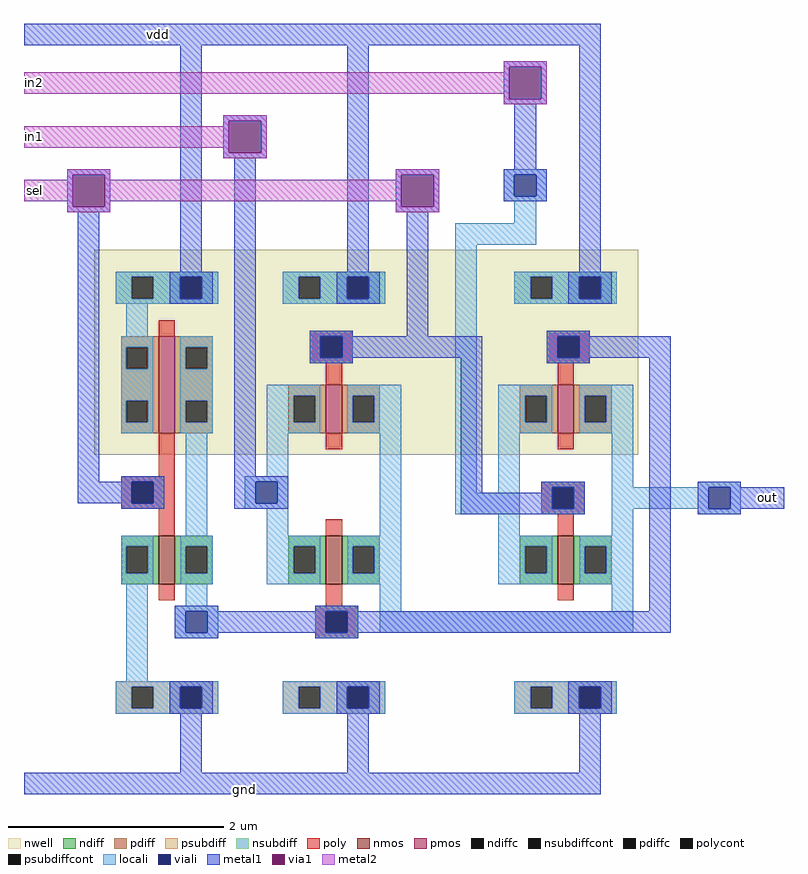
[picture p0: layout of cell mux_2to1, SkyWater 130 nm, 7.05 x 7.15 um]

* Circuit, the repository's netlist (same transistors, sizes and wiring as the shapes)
* SPICE3 file created from mux_2to1.ext - technology: sky130A

X0 out a_2510_640# in1 gnd sky130_fd_pr__nfet_01v8 ad=0.1575 pd=1.6 as=0.1575 ps=1.6 w=0.45 l=0.15
X1 out sel in2 gnd sky130_fd_pr__nfet_01v8 ad=0.1575 pd=1.6 as=0.1575 ps=1.6 w=0.45 l=0.15
X2 a_2510_640# sel gnd gnd sky130_fd_pr__nfet_01v8 ad=0.1575 pd=1.6 as=0.1575 ps=1.6 w=0.45 l=0.15
X3 out sel in1 vdd sky130_fd_pr__pfet_01v8 ad=0.1575 pd=1.6 as=0.1575 ps=1.6 w=0.45 l=0.15
X4 out a_2510_640# in2 vdd sky130_fd_pr__pfet_01v8 ad=0.1575 pd=1.6 as=0.1575 ps=1.6 w=0.45 l=0.15
X5 a_2510_640# sel vdd vdd sky130_fd_pr__pfet_01v8 ad=0.315 pd=2.5 as=0.315 ps=2.5 w=0.9 l=0.15

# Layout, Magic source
magic
tech sky130A
<< nwell >>
rect 1180 440 1685 630
<< nmos >>
rect 1240 320 1255 365
rect 1395 320 1410 365
rect 1610 320 1625 365
<< pmos >>
rect 1240 460 1255 550
rect 1395 460 1410 505
rect 1610 460 1625 505
<< ndiff >>
rect 1205 355 1240 365
rect 1205 330 1210 355
rect 1230 330 1240 355
rect 1205 320 1240 330
rect 1255 355 1290 365
rect 1255 330 1265 355
rect 1285 330 1290 355
rect 1255 320 1290 330
rect 1360 355 1395 365
rect 1360 330 1365 355
rect 1385 330 1395 355
rect 1360 320 1395 330
rect 1410 355 1445 365
rect 1410 330 1420 355
rect 1440 330 1445 355
rect 1410 320 1445 330
rect 1575 355 1610 365
rect 1575 330 1580 355
rect 1600 330 1610 355
rect 1575 320 1610 330
rect 1625 355 1660 365
rect 1625 330 1635 355
rect 1655 330 1660 355
rect 1625 320 1660 330
<< pdiff >>
rect 1205 540 1240 550
rect 1205 520 1210 540
rect 1230 520 1240 540
rect 1205 490 1240 520
rect 1205 470 1210 490
rect 1230 470 1240 490
rect 1205 460 1240 470
rect 1255 540 1290 550
rect 1255 520 1265 540
rect 1285 520 1290 540
rect 1255 490 1290 520
rect 1255 470 1265 490
rect 1285 470 1290 490
rect 1255 460 1290 470
rect 1360 495 1395 505
rect 1360 470 1365 495
rect 1385 470 1395 495
rect 1360 460 1395 470
rect 1410 495 1445 505
rect 1410 470 1420 495
rect 1440 470 1445 495
rect 1410 460 1445 470
rect 1575 495 1610 505
rect 1575 470 1580 495
rect 1600 470 1610 495
rect 1575 460 1610 470
rect 1625 495 1660 505
rect 1625 470 1635 495
rect 1655 470 1660 495
rect 1625 460 1660 470
<< ndiffc >>
rect 1210 330 1230 355
rect 1265 330 1285 355
rect 1365 330 1385 355
rect 1420 330 1440 355
rect 1580 330 1600 355
rect 1635 330 1655 355
<< pdiffc >>
rect 1210 520 1230 540
rect 1210 470 1230 490
rect 1265 520 1285 540
rect 1265 470 1285 490
rect 1365 470 1385 495
rect 1420 470 1440 495
rect 1580 470 1600 495
rect 1635 470 1655 495
<< psubdiff >>
rect 1200 225 1295 230
rect 1200 205 1215 225
rect 1235 205 1260 225
rect 1280 205 1295 225
rect 1200 200 1295 205
rect 1355 225 1450 230
rect 1355 205 1370 225
rect 1390 205 1415 225
rect 1435 205 1450 225
rect 1355 200 1450 205
rect 1570 225 1665 230
rect 1570 205 1585 225
rect 1605 205 1630 225
rect 1650 205 1665 225
rect 1570 200 1665 205
<< nsubdiff >>
rect 1200 605 1295 610
rect 1200 585 1215 605
rect 1235 585 1260 605
rect 1280 585 1295 605
rect 1200 580 1295 585
rect 1355 605 1450 610
rect 1355 585 1370 605
rect 1390 585 1415 605
rect 1435 585 1450 605
rect 1355 580 1450 585
rect 1570 605 1665 610
rect 1570 585 1585 605
rect 1605 585 1630 605
rect 1650 585 1665 605
rect 1570 580 1665 585
<< psubdiffcont >>
rect 1215 205 1235 225
rect 1260 205 1280 225
rect 1370 205 1390 225
rect 1415 205 1435 225
rect 1585 205 1605 225
rect 1630 205 1650 225
<< nsubdiffcont >>
rect 1215 585 1235 605
rect 1260 585 1280 605
rect 1370 585 1390 605
rect 1415 585 1435 605
rect 1585 585 1605 605
rect 1630 585 1650 605
<< poly >>
rect 1240 550 1255 565
rect 1380 550 1420 555
rect 1380 530 1390 550
rect 1410 530 1420 550
rect 1380 525 1420 530
rect 1600 550 1640 555
rect 1600 530 1610 550
rect 1630 530 1640 550
rect 1600 525 1640 530
rect 1395 505 1410 525
rect 1610 505 1625 525
rect 1240 420 1255 460
rect 1395 445 1410 460
rect 1610 445 1625 460
rect 1205 415 1255 420
rect 1205 395 1215 415
rect 1235 395 1255 415
rect 1205 390 1255 395
rect 1240 365 1255 390
rect 1595 410 1635 415
rect 1595 390 1605 410
rect 1625 390 1635 410
rect 1595 385 1635 390
rect 1395 365 1410 380
rect 1610 365 1625 385
rect 1240 305 1255 320
rect 1395 300 1410 320
rect 1610 305 1625 320
rect 1385 295 1425 300
rect 1385 275 1395 295
rect 1415 275 1425 295
rect 1385 270 1425 275
<< polycont >>
rect 1390 530 1410 550
rect 1610 530 1630 550
rect 1215 395 1235 415
rect 1605 390 1625 410
rect 1395 275 1415 295
<< locali >>
rect 1560 700 1600 705
rect 1560 680 1570 700
rect 1590 680 1600 700
rect 1560 675 1600 680
rect 1570 655 1590 675
rect 1515 635 1590 655
rect 1200 605 1295 610
rect 1200 585 1215 605
rect 1235 585 1260 605
rect 1280 585 1295 605
rect 1200 580 1295 585
rect 1355 605 1450 610
rect 1355 585 1370 605
rect 1390 585 1415 605
rect 1435 585 1450 605
rect 1355 580 1450 585
rect 1210 550 1230 580
rect 1380 550 1420 555
rect 1205 540 1235 550
rect 1205 520 1210 540
rect 1230 520 1235 540
rect 1205 490 1235 520
rect 1205 470 1210 490
rect 1230 470 1235 490
rect 1205 460 1235 470
rect 1260 540 1290 550
rect 1260 520 1265 540
rect 1285 520 1290 540
rect 1380 530 1390 550
rect 1410 530 1420 550
rect 1380 525 1420 530
rect 1260 490 1290 520
rect 1260 470 1265 490
rect 1285 470 1290 490
rect 1260 460 1290 470
rect 1340 495 1390 505
rect 1340 470 1365 495
rect 1385 470 1390 495
rect 1340 460 1390 470
rect 1415 495 1465 505
rect 1415 470 1420 495
rect 1440 470 1465 495
rect 1415 460 1465 470
rect 1205 415 1245 420
rect 1205 395 1215 415
rect 1235 395 1245 415
rect 1205 390 1245 395
rect 1265 365 1285 460
rect 1340 420 1360 460
rect 1320 415 1360 420
rect 1320 395 1330 415
rect 1350 395 1360 415
rect 1320 390 1360 395
rect 1340 365 1360 390
rect 1445 365 1465 460
rect 1515 405 1535 635
rect 1570 605 1665 610
rect 1570 585 1585 605
rect 1605 585 1630 605
rect 1650 585 1665 605
rect 1570 580 1665 585
rect 1600 550 1640 555
rect 1600 530 1610 550
rect 1630 530 1640 550
rect 1600 525 1640 530
rect 1555 495 1605 505
rect 1555 470 1580 495
rect 1600 470 1605 495
rect 1555 460 1605 470
rect 1630 495 1680 505
rect 1630 470 1635 495
rect 1655 470 1680 495
rect 1630 460 1680 470
rect 1555 405 1575 460
rect 1515 385 1575 405
rect 1595 410 1635 415
rect 1595 390 1605 410
rect 1625 390 1635 410
rect 1595 385 1635 390
rect 1660 410 1680 460
rect 1740 410 1780 415
rect 1660 390 1750 410
rect 1770 390 1780 410
rect 1205 355 1235 365
rect 1205 330 1210 355
rect 1230 330 1235 355
rect 1205 320 1235 330
rect 1260 355 1290 365
rect 1260 330 1265 355
rect 1285 330 1290 355
rect 1260 320 1290 330
rect 1340 355 1390 365
rect 1340 330 1365 355
rect 1385 330 1390 355
rect 1340 320 1390 330
rect 1415 355 1465 365
rect 1415 330 1420 355
rect 1440 330 1465 355
rect 1415 320 1465 330
rect 1555 365 1575 385
rect 1660 365 1680 390
rect 1740 385 1780 390
rect 1555 355 1605 365
rect 1555 330 1580 355
rect 1600 330 1605 355
rect 1555 320 1605 330
rect 1630 355 1680 365
rect 1630 330 1635 355
rect 1655 330 1680 355
rect 1630 320 1680 330
rect 1210 230 1230 320
rect 1265 300 1285 320
rect 1255 295 1295 300
rect 1255 275 1265 295
rect 1285 275 1295 295
rect 1255 270 1295 275
rect 1385 295 1425 300
rect 1385 275 1395 295
rect 1415 275 1425 295
rect 1445 295 1465 320
rect 1660 295 1680 320
rect 1445 275 1680 295
rect 1385 270 1425 275
rect 1200 225 1295 230
rect 1200 205 1215 225
rect 1235 205 1260 225
rect 1280 205 1295 225
rect 1200 200 1295 205
rect 1355 225 1450 230
rect 1355 205 1370 225
rect 1390 205 1415 225
rect 1435 205 1450 225
rect 1355 200 1450 205
rect 1570 225 1665 230
rect 1570 205 1585 225
rect 1605 205 1630 225
rect 1650 205 1665 225
rect 1570 200 1665 205
<< viali >>
rect 1570 680 1590 700
rect 1260 585 1280 605
rect 1415 585 1435 605
rect 1390 530 1410 550
rect 1215 395 1235 415
rect 1330 395 1350 415
rect 1630 585 1650 605
rect 1610 530 1630 550
rect 1605 390 1625 410
rect 1750 390 1770 410
rect 1265 275 1285 295
rect 1395 275 1415 295
rect 1260 205 1280 225
rect 1415 205 1435 225
rect 1630 205 1650 225
<< metal1 >>
rect 1115 820 1650 840
rect 1155 700 1195 705
rect 1155 670 1160 700
rect 1190 670 1195 700
rect 1155 665 1195 670
rect 1165 415 1185 665
rect 1260 610 1280 820
rect 1300 750 1340 755
rect 1300 720 1305 750
rect 1335 720 1340 750
rect 1300 715 1340 720
rect 1250 605 1290 610
rect 1250 585 1260 605
rect 1280 585 1290 605
rect 1250 580 1290 585
rect 1310 420 1330 715
rect 1415 610 1435 820
rect 1560 800 1600 805
rect 1560 770 1565 800
rect 1595 770 1600 800
rect 1560 765 1600 770
rect 1570 705 1590 765
rect 1460 700 1500 705
rect 1460 670 1465 700
rect 1495 670 1500 700
rect 1560 700 1600 705
rect 1560 680 1570 700
rect 1590 680 1600 700
rect 1560 675 1600 680
rect 1460 665 1500 670
rect 1405 605 1445 610
rect 1405 585 1415 605
rect 1435 585 1445 605
rect 1405 580 1445 585
rect 1380 550 1420 555
rect 1470 550 1490 665
rect 1630 610 1650 820
rect 1620 605 1660 610
rect 1620 585 1630 605
rect 1650 585 1660 605
rect 1620 580 1660 585
rect 1600 550 1640 555
rect 1380 530 1390 550
rect 1410 530 1540 550
rect 1380 525 1420 530
rect 1205 415 1245 420
rect 1165 395 1215 415
rect 1235 395 1245 415
rect 1205 390 1245 395
rect 1310 415 1360 420
rect 1310 395 1330 415
rect 1350 395 1360 415
rect 1310 390 1360 395
rect 1520 405 1540 530
rect 1600 530 1610 550
rect 1630 530 1715 550
rect 1600 525 1640 530
rect 1595 410 1635 415
rect 1595 405 1605 410
rect 1520 390 1605 405
rect 1625 390 1635 410
rect 1520 385 1635 390
rect 1255 295 1295 300
rect 1385 295 1425 300
rect 1695 295 1715 530
rect 1740 410 1780 415
rect 1740 390 1750 410
rect 1770 390 1820 410
rect 1740 385 1780 390
rect 1255 275 1265 295
rect 1285 275 1395 295
rect 1415 275 1715 295
rect 1255 270 1295 275
rect 1385 270 1425 275
rect 1250 225 1290 230
rect 1250 205 1260 225
rect 1280 205 1290 225
rect 1250 200 1290 205
rect 1405 225 1445 230
rect 1405 205 1415 225
rect 1435 205 1445 225
rect 1405 200 1445 205
rect 1620 225 1660 230
rect 1620 205 1630 225
rect 1650 205 1660 225
rect 1620 200 1660 205
rect 1260 145 1280 200
rect 1415 145 1435 200
rect 1630 145 1650 200
rect 1115 125 1650 145
<< via1 >>
rect 1160 670 1190 700
rect 1305 720 1335 750
rect 1565 770 1595 800
rect 1465 670 1495 700
<< metal2 >>
rect 1560 800 1600 805
rect 1560 795 1565 800
rect 1115 775 1565 795
rect 1560 770 1565 775
rect 1595 770 1600 800
rect 1560 765 1600 770
rect 1300 750 1340 755
rect 1300 745 1305 750
rect 1115 725 1305 745
rect 1300 720 1305 725
rect 1335 720 1340 750
rect 1300 715 1340 720
rect 1155 700 1195 705
rect 1155 695 1160 700
rect 1115 675 1160 695
rect 1155 670 1160 675
rect 1190 695 1195 700
rect 1460 700 1500 705
rect 1460 695 1465 700
rect 1190 675 1465 695
rect 1190 670 1195 675
rect 1155 665 1195 670
rect 1460 670 1465 675
rect 1495 670 1500 700
rect 1460 665 1500 670
<< labels >>
rlabel metal2 1120 675 1130 695 1 sel
rlabel metal2 1120 725 1130 745 1 in1
rlabel metal2 1120 775 1130 795 1 in2
rlabel metal1 1320 130 1320 130 1 gnd
rlabel metal1 1240 830 1240 830 1 vdd
rlabel metal1 1800 390 1810 410 1 out
<< end >>
